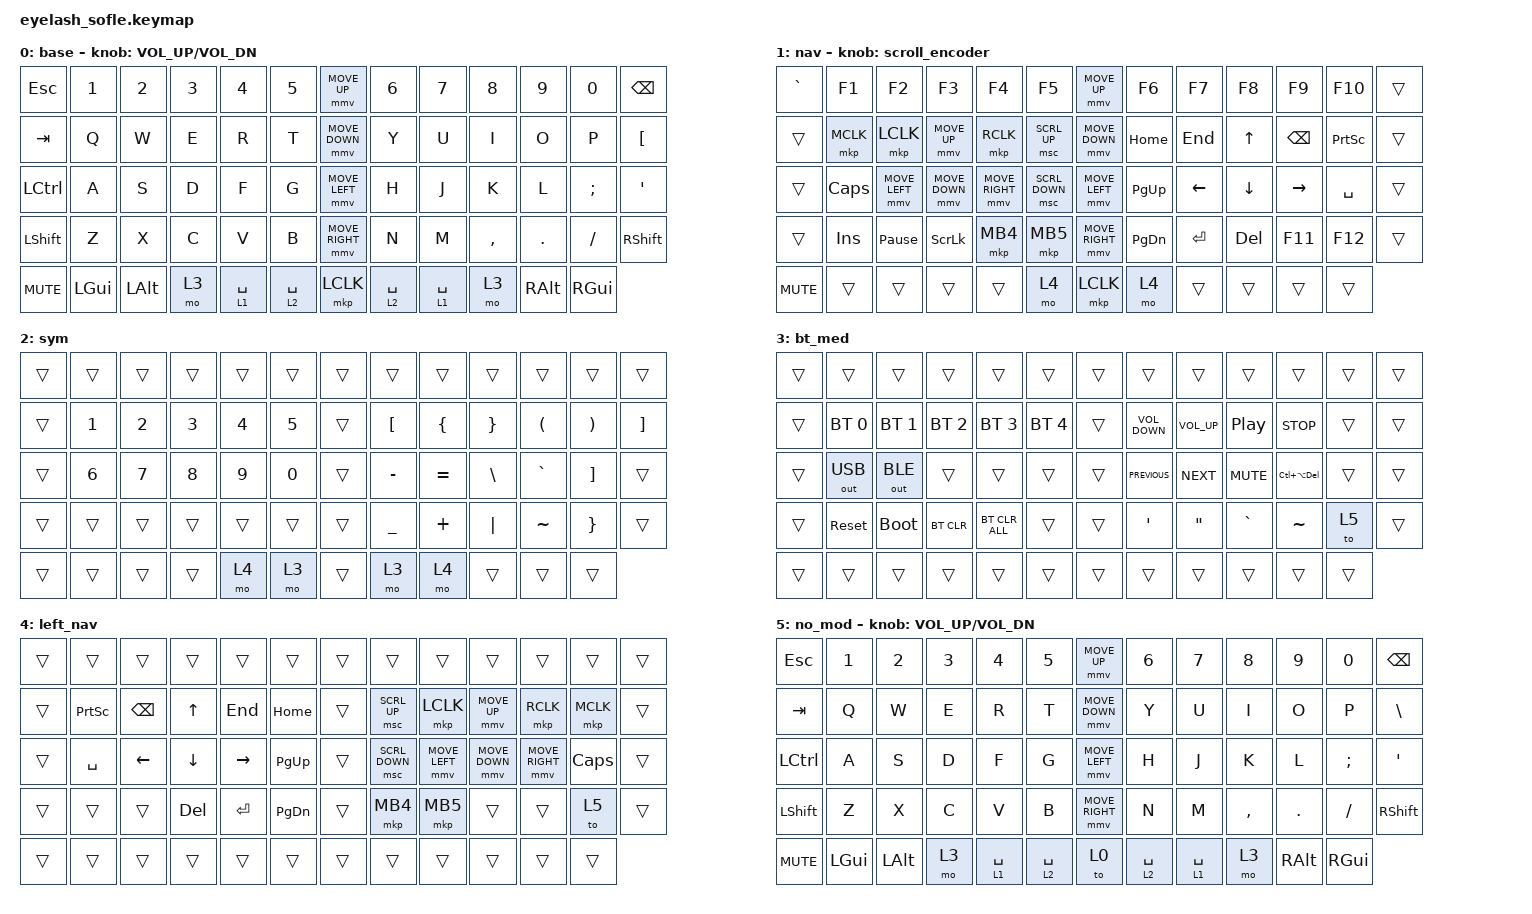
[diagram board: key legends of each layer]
#define ZMK_POINTING_DEFAULT_MOVE_VAL 1200  // 600
#define ZMK_POINTING_DEFAULT_SCRL_VAL 5    // 10

#include <input/processors.dtsi>
#include <zephyr/dt-bindings/input/input-event-codes.h>
#include <behaviors.dtsi>
#include <dt-bindings/zmk/bt.h>
#include <dt-bindings/zmk/keys.h>
#include <dt-bindings/zmk/outputs.h>
#include <dt-bindings/zmk/pointing.h>

/ {
    zip_scroll_scaler: zip_scroll_scaler {
        compatible = "zmk,input-processor-scaler";
        #input-processor-cells = <2>;
        type = <INPUT_EV_REL>;
        codes = <INPUT_REL_WHEEL INPUT_REL_HWHEEL>;
        track-remainders;
    };
};

&mmv_input_listener { input-processors = <&zip_xy_scaler 2 1>; };

&msc_input_listener { input-processors = <&zip_scroll_scaler 2 1>; };

&msc {
    trigger-period-ms = <16>;
    acceleration-exponent = <0>;
};

&mmv {
    time-to-max-speed-ms = <600>;
    acceleration-exponent = <1>;
};

/ {
    scroll_encoder: scroll_encoder {
        compatible = "zmk,behavior-sensor-rotate";
        #sensor-binding-cells = <0>;
        bindings = <&msc SCRL_DOWN>, <&msc SCRL_UP>;

        tap-ms = <30>;
    };

    combos { compatible = "zmk,combos"; };

    behaviors {
    };

    keymap {
        compatible = "zmk,keymap";

        layer_0 {
            bindings = <
&kp ESC           &kp N1        &kp N2        &kp N3  &kp N4       &kp N5         &mmv MOVE_UP     &kp N6       &kp N7       &kp N8     &kp N9         &kp N0         &kp BACKSPACE
&kp TAB           &kp Q         &kp W         &kp E   &kp R        &kp T          &mmv MOVE_DOWN   &kp Y        &kp U        &kp I      &kp O          &kp P          &kp LEFT_BRACKET
&kp LEFT_CONTROL  &kp A         &kp S         &kp D   &kp F        &kp G          &mmv MOVE_LEFT   &kp H        &kp J        &kp K      &kp L          &kp SEMI       &kp APOS
&kp LSHFT         &kp Z         &kp X         &kp C   &kp V        &kp B          &mmv MOVE_RIGHT  &kp N        &kp M        &kp COMMA  &kp PERIOD     &kp SLASH      &kp RIGHT_SHIFT
&kp C_MUTE        &kp LEFT_GUI  &kp LEFT_ALT  &mo 3   &lt 1 SPACE  &lt 2 SPACE    &mkp LCLK        &lt 2 SPACE  &lt 1 SPACE  &mo 3      &kp RIGHT_ALT  &kp RIGHT_GUI
            >;

            sensor-bindings = <&inc_dec_kp C_VOLUME_UP C_VOL_DN>;
            display-name = "base";
        };

        layer_1 {
            bindings = <
&kp GRAVE   &kp F1      &kp F2           &kp F3          &kp F4           &kp F5            &mmv MOVE_UP     &kp F6         &kp F7     &kp F8      &kp F9         &kp F10          &trans
&trans      &mkp MCLK   &mkp LCLK        &mmv MOVE_UP    &mkp RCLK        &msc SCRL_UP      &mmv MOVE_DOWN   &kp HOME       &kp END    &kp UP      &kp BACKSPACE  &kp PRINTSCREEN  &trans
&trans      &kp CAPS    &mmv MOVE_LEFT   &mmv MOVE_DOWN  &mmv MOVE_RIGHT  &msc SCRL_DOWN    &mmv MOVE_LEFT   &kp PAGE_UP    &kp LEFT   &kp DOWN    &kp RIGHT      &kp SPACE        &trans
&trans      &kp INSERT  &kp PAUSE_BREAK  &kp SCROLLLOCK  &mkp MB4         &mkp MB5          &mmv MOVE_RIGHT  &kp PAGE_DOWN  &kp ENTER  &kp DELETE  &kp F11        &kp F12          &trans
&kp C_MUTE  &trans      &trans           &trans          &trans           &mo 4             &mkp LCLK        &mo 4          &trans     &trans      &trans         &trans
            >;

            display-name = "nav";
            sensor-bindings = <&scroll_encoder>;
        };

        layer_2 {
            bindings = <
&trans  &trans        &trans        &trans        &trans        &trans          &trans  &trans            &trans          &trans           &trans                &trans                 &trans
&trans  &kp NUMBER_1  &kp NUMBER_2  &kp NUMBER_3  &kp NUMBER_4  &kp N5          &trans  &kp LEFT_BRACKET  &kp LEFT_BRACE  &kp RIGHT_BRACE  &kp LEFT_PARENTHESIS  &kp RIGHT_PARENTHESIS  &kp RIGHT_BRACKET
&trans  &kp NUMBER_6  &kp NUMBER_7  &kp NUMBER_8  &kp NUMBER_9  &kp NUMBER_0    &trans  &kp MINUS         &kp EQUAL       &kp BACKSLASH    &kp GRAVE             &kp RIGHT_BRACKET      &trans
&trans  &trans        &trans        &trans        &trans        &trans          &trans  &kp UNDERSCORE    &kp PLUS        &kp PIPE         &kp TILDE             &kp RIGHT_BRACE        &trans
&trans  &trans        &trans        &trans        &mo 4         &mo 3           &trans  &mo 3             &mo 4           &trans           &trans                &trans
            >;

            label = "sym";
        };

        layer_3 {
            label = "bt_med";
            bindings = <
&trans  &trans        &trans        &trans        &trans          &trans          &trans  &trans             &trans             &trans            &trans              &trans  &trans
&trans  &bt BT_SEL 0  &bt BT_SEL 1  &bt BT_SEL 2  &bt BT_SEL 3    &bt BT_SEL 4    &trans  &kp C_VOLUME_DOWN  &kp C_VOLUME_UP    &kp C_PLAY_PAUSE  &kp C_STOP          &trans  &trans
&trans  &out OUT_USB  &out OUT_BLE  &trans        &trans          &trans          &trans  &kp C_PREVIOUS     &kp C_NEXT         &kp C_MUTE        &kp LC(LA(DELETE))  &trans  &trans
&trans  &sys_reset    &bootloader   &bt BT_CLR    &bt BT_CLR_ALL  &trans          &trans  &kp SINGLE_QUOTE   &kp DOUBLE_QUOTES  &kp GRAVE         &kp TILDE           &to 5   &trans
&trans  &trans        &trans        &trans        &trans          &trans          &trans  &trans             &trans             &trans            &trans              &trans
            >;
        };

        layer_4 {
            bindings = <
&trans  &trans           &trans         &trans    &trans     &trans           &trans  &trans          &trans          &trans          &trans           &trans     &trans
&trans  &kp PRINTSCREEN  &kp BACKSPACE  &kp UP    &kp END    &kp HOME         &trans  &msc SCRL_UP    &mkp LCLK       &mmv MOVE_UP    &mkp RCLK        &mkp MCLK  &trans
&trans  &kp SPACE        &kp LEFT       &kp DOWN  &kp RIGHT  &kp PAGE_UP      &trans  &msc SCRL_DOWN  &mmv MOVE_LEFT  &mmv MOVE_DOWN  &mmv MOVE_RIGHT  &kp CAPS   &trans
&trans  &trans           &trans         &kp DEL   &kp ENTER  &kp PAGE_DOWN    &trans  &mkp MB4        &mkp MB5        &trans          &trans           &to 5      &trans
&trans  &trans           &trans         &trans    &trans     &trans           &trans  &trans          &trans          &trans          &trans           &trans
            >;

            label = "left_nav";
        };

        layer_5 {
            display-name = "no_mod";
            bindings = <
&kp ESC           &kp N1        &kp N2        &kp N3  &kp N4       &kp N5         &mmv MOVE_UP     &kp N6       &kp N7       &kp N8     &kp N9         &kp N0         &kp BACKSPACE
&kp TAB           &kp Q         &kp W         &kp E   &kp R        &kp T          &mmv MOVE_DOWN   &kp Y        &kp U        &kp I      &kp O          &kp P          &kp BSLH
&kp LEFT_CONTROL  &kp A         &kp S         &kp D   &kp F        &kp G          &mmv MOVE_LEFT   &kp H        &kp J        &kp K      &kp L          &kp SEMI       &kp APOS
&kp LSHFT         &kp Z         &kp X         &kp C   &kp V        &kp B          &mmv MOVE_RIGHT  &kp N        &kp M        &kp COMMA  &kp PERIOD     &kp SLASH      &kp RIGHT_SHIFT
&kp C_MUTE        &kp LEFT_GUI  &kp LEFT_ALT  &mo 3   &lt 1 SPACE  &lt 2 SPACE    &to 0            &lt 2 SPACE  &lt 1 SPACE  &mo 3      &kp RIGHT_ALT  &kp RIGHT_GUI
            >;

            sensor-bindings = <&inc_dec_kp C_VOLUME_UP C_VOL_DN>;
        };
    };
};
